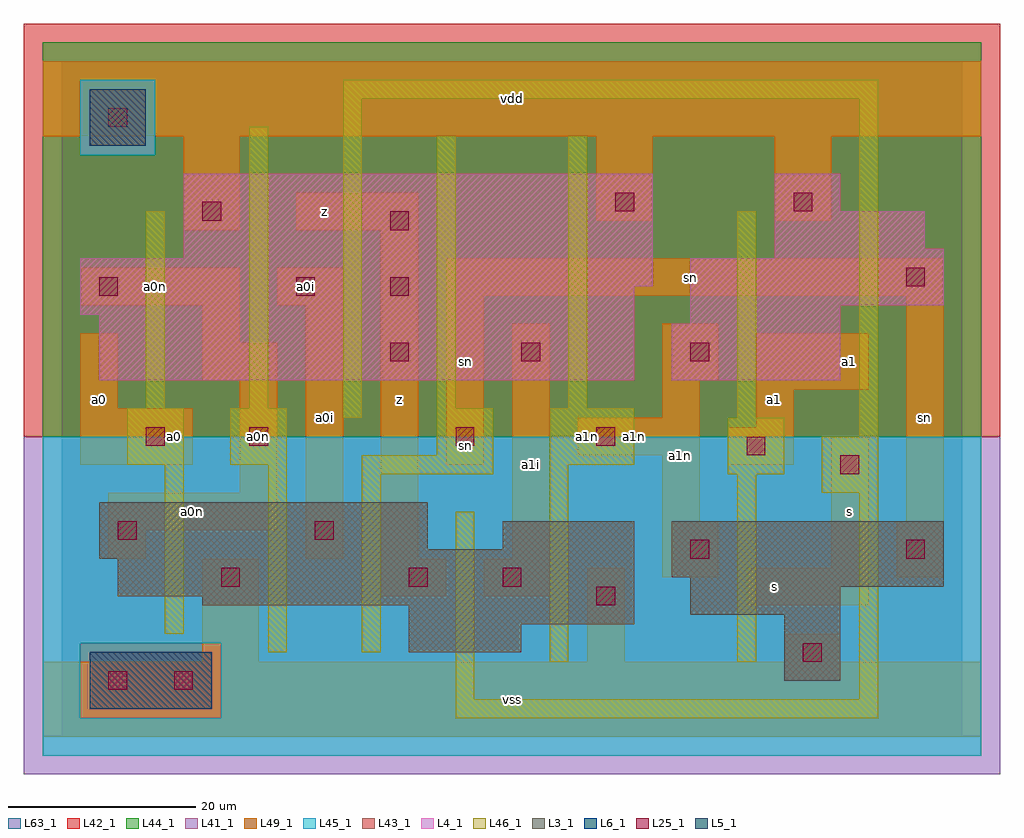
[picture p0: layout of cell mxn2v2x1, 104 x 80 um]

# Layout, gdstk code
import gdstk
lib = gdstk.Library(unit=1e-6, precision=1e-09)
def R(c, l, rs):  # rectangles x0, y0, x1, y1
    for r in rs: c.add(gdstk.rectangle(r[:2], r[2:], *l))
def A(c, l, x, y, w, h, nx, ny, dx, dy):  # array of equal rectangles
    R(c, l, [(x+i*dx, y+j*dy, x+i*dx+w, y+j*dy+h) for i in range(nx) for j in range(ny)])
L3_1 = (3, 1)
L4_1 = (4, 1)
L5_1 = (5, 1)
L6_1 = (6, 1)
L25_1 = (25, 1)
L41_1 = (41, 1)
L42_1 = (42, 1)
L43_1 = (43, 1)
L44_1 = (44, 1)
L45_1 = (45, 1)
L46_1 = (46, 1)
L49_1 = (49, 1)
L63_1 = (63, 1)

mxn2v2x1 = lib.new_cell('mxn2v2x1')
R(mxn2v2x1, L3_1, [(77,6,83,13), (37,9,49,12), (37,12,61,14), (67,13,83,16), (15,14,61,15), (6,15,61,19), (67,16,94,17), (65,17,94,23), (4,19,61,20), (4,20,39,25), (47,20,61,23)])
R(mxn2v2x1, L4_1, [(4,38,61,45), (65,38,83,44), (67,44,83,46), (2,45,61,48), (67,46,94,51), (2,48,63,51), (13,51,63,60), (76,51,94,52), (76,52,92,56), (76,56,83,60)])
R(mxn2v2x1, L5_1, [(3,63,9,69)])
R(mxn2v2x1, L6_1, [(3,3,16,9), (3,3,16,9)])
A(mxn2v2x1, L25_1, 35, 40, 2, 2, 1, 3, 0, 7)
R(mxn2v2x1, L25_1, [(5,5,7,7), (12,5,14,7), (79,8,81,10), (57,14,59,16), (17,16,19,18), (37,16,39,18), (47,16,49,18), (67,19,69,21), (90,19,92,21), (6,21,8,23), (27,21,29,23), (83,28,85,30), (73,30,75,32), (9,31,11,33), (20,31,22,33), (42,31,44,33), (57,31,59,33), (49,40,51,42), (67,40,69,42), (4,47,6,49), (25,47,27,49), (90,48,92,50), (15,55,17,57), (59,56,61,58), (78,56,80,58), (5,65,7,67)])
R(mxn2v2x1, L41_1, [(-4,-4,100,32)])
R(mxn2v2x1, L42_1, [(-4,32,100,76)])
R(mxn2v2x1, L43_1, [(3,3,16,9), (77,6,83,13), (37,9,49,12), (37,12,61,14), (67,13,83,16), (15,14,61,15), (6,15,61,19), (67,16,94,17), (65,17,94,23), (4,19,61,20), (4,20,39,25), (47,20,61,23), (4,38,61,45), (65,38,83,44), (67,44,83,46), (2,45,61,48), (67,46,94,51), (2,48,63,51), (13,51,63,60), (76,51,94,52), (76,52,92,56), (76,56,83,60), (3,63,9,69)])
R(mxn2v2x1, L44_1, [(2,2,17,10), (-2,32,98,62), (-2,62,2,70), (10,62,98,70), (-2,70,98,74)])
R(mxn2v2x1, L45_1, [(-2,-2,98,2), (-2,2,2,10), (17,2,98,10), (-2,10,98,32), (2,62,10,70)])
R(mxn2v2x1, L46_1, [(42,2,87,4), (42,4,44,24), (85,4,87,26), (52,8,54,29), (72,8,74,28), (22,9,24,29), (32,9,34,28), (11,11,13,29), (81,26,87,32), (32,28,46,30), (71,28,77,34), (7,29,13,35), (18,29,24,35), (52,29,61,35), (40,30,46,35), (85,32,87,68), (30,34,32,68), (72,34,74,56), (9,35,11,56), (20,35,22,65), (40,35,42,64), (54,35,56,64), (30,68,87,70)])
R(mxn2v2x1, L49_1, [(-2,0,98,8), (15,8,21,19), (56,8,60,18), (77,8,83,11), (73,14,86,18), (34,15,41,19), (45,15,52,19), (64,17,70,23), (89,17,94,23), (82,18,86,32), (5,19,9,22), (26,19,30,46), (34,19,38,54), (48,19,52,44), (5,22,23,26), (64,23,68,30), (90,23,94,47), (19,26,23,38), (2,29,14,35), (41,29,45,47), (71,29,78,33), (55,30,68,34), (74,33,78,37), (64,34,68,38), (2,35,6,43), (74,37,86,43), (15,38,23,42), (64,38,70,44), (15,42,19,46), (2,46,19,50), (23,46,30,50), (41,47,94,51), (13,54,19,64), (25,54,38,58), (57,55,63,64), (76,55,82,64), (-2,64,98,72)])
R(mxn2v2x1, L63_1, [(0,0,96,72)])
mxn2v2x1.add(gdstk.Label('a0n', (21,32), layer=49, texttype=1))
mxn2v2x1.add(gdstk.Label('sn', (43,31), layer=49, texttype=1))
mxn2v2x1.add(gdstk.Label('a1n', (56,32), layer=46, texttype=1))
mxn2v2x1.add(gdstk.Label('a0', (12,32), layer=49, texttype=1))
mxn2v2x1.add(gdstk.Label('a0', (4,36), layer=49, texttype=1))
mxn2v2x1.add(gdstk.Label('a0n', (14,24), layer=49, texttype=1))
mxn2v2x1.add(gdstk.Label('a0n', (21,32), layer=49, texttype=1))
mxn2v2x1.add(gdstk.Label('a0i', (28,34), layer=49, texttype=1))
mxn2v2x1.add(gdstk.Label('a0n', (10,48), layer=49, texttype=1))
mxn2v2x1.add(gdstk.Label('a0i', (26,48), layer=49, texttype=1))
mxn2v2x1.add(gdstk.Label('z', (28,56), layer=49, texttype=1))
mxn2v2x1.add(gdstk.Label('vss', (48,4), layer=49, texttype=1))
mxn2v2x1.add(gdstk.Label('z', (36,36), layer=49, texttype=1))
mxn2v2x1.add(gdstk.Label('a1i', (50,29), layer=49, texttype=1))
mxn2v2x1.add(gdstk.Label('sn', (43,40), layer=49, texttype=1))
mxn2v2x1.add(gdstk.Label('vdd', (48,68), layer=49, texttype=1))
mxn2v2x1.add(gdstk.Label('s', (76,16), layer=49, texttype=1))
mxn2v2x1.add(gdstk.Label('a1n', (61,32), layer=49, texttype=1))
mxn2v2x1.add(gdstk.Label('a1', (76,36), layer=49, texttype=1))
mxn2v2x1.add(gdstk.Label('a1n', (66,30), layer=49, texttype=1))
mxn2v2x1.add(gdstk.Label('s', (84,24), layer=49, texttype=1))
mxn2v2x1.add(gdstk.Label('a1', (84,40), layer=49, texttype=1))
mxn2v2x1.add(gdstk.Label('sn', (92,34), layer=49, texttype=1))
mxn2v2x1.add(gdstk.Label('sn', (67,49), layer=49, texttype=1))

lib.write_gds('mxn2v2x1.gds')
